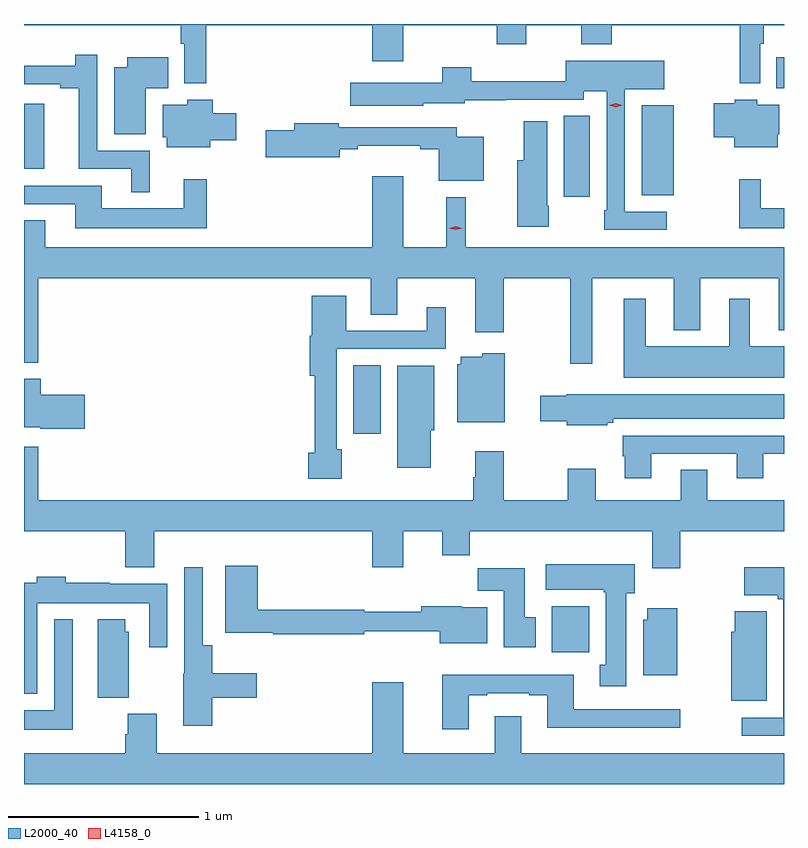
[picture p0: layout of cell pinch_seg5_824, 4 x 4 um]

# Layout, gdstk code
import gdstk
lib = gdstk.Library(unit=1e-6, precision=1e-09)
def R(c, l, rs):  # rectangles x0, y0, x1, y1
    for r in rs: c.add(gdstk.rectangle(r[:2], r[2:], *l))
def P(c, l, *ps):  # polygons
    for p in ps: c.add(gdstk.Polygon(p, *l))
L2000_40 = (2000, 40)
L4158_0 = (4158, 0)

pinch_seg5_824 = lib.new_cell('pinch_seg5_824')
R(pinch_seg5_824, L2000_40, [(765.353,885.428,765.55,885.67), (764.309,886.578,764.452,886.94), (765.416,887.826,765.553,888.251), (765.827,887.833,765.994,888.307), (762.575,887.972,762.682,888.316), (766.534,888.398,766.575,888.559)])
P(pinch_seg5_824, L2000_40, [(763.535,888.728),(764.408,888.728),(764.408,888.54),(764.572,888.54),(764.572,888.728),(765.064,888.728),(765.064,888.629),(765.219,888.629),(765.219,888.728),(765.508,888.728),(765.508,888.629),(765.668,888.629),(765.668,888.728),(766.341,888.728),(766.341,888.422),(766.449,888.422),(766.449,888.632),(766.469,888.632),(766.469,888.728),(766.575,888.728),(766.575,888.735),(762.575,888.735),(762.575,888.728),(763.399,888.728),(763.399,888.632),(763.419,888.632),(763.419,888.422),(763.535,888.422)],
  [(763.237,888.069),(762.96,888.069),(762.96,888.574),(762.844,888.574),(762.844,888.515),(762.575,888.515),(762.575,888.417),(762.767,888.417),(762.767,888.397),(762.863,888.397),(762.863,887.973),(763.139,887.973),(763.139,887.849),(763.237,887.849)],
  [(763.216,888.398),(763.334,888.398),(763.334,888.559),(763.118,888.559),(763.118,888.508),(763.049,888.508),(763.049,888.154),(763.216,888.154)],
  [(765.958,887.748),(765.738,887.748),(765.738,888.392),(765.946,888.392),(765.946,888.541),(765.426,888.541),(765.426,888.434),(764.93,888.434),(764.93,888.508),(764.777,888.508),(764.777,888.427),(764.292,888.427),(764.292,888.305),(764.676,888.305),(764.676,888.318),(764.895,888.318),(764.895,888.335),(765.11,888.335),(765.11,888.336),(765.522,888.336),(765.522,888.38),(765.642,888.38),(765.642,887.755),(765.63,887.755),(765.63,887.652),(765.958,887.652)],
  [(763.555,888.122),(763.693,888.122),(763.693,888.264),(763.568,888.264),(763.568,888.337),(763.434,888.337),(763.434,888.31),(763.304,888.31),(763.304,888.138),(763.325,888.138),(763.325,888.086),(763.555,888.086)],
  [(766.543,888.156),(766.549,888.156),(766.549,888.31),(766.434,888.31),(766.434,888.337),(766.317,888.337),(766.317,888.318),(766.205,888.318),(766.205,888.14),(766.313,888.14),(766.313,888.086),(766.543,888.086)],
  [(765.336,887.779),(765.328,887.779),(765.328,888.223),(765.206,888.223),(765.206,888.019),(765.17,888.019),(765.17,887.667),(765.336,887.667)],
  [(764.995,888.142),(764.853,888.142),(764.853,888.192),(764.232,888.192),(764.232,888.212),(763.997,888.212),(763.997,888.176),(763.848,888.176),(763.848,888.034),(764.236,888.034),(764.236,888.076),(764.332,888.076),(764.332,888.095),(764.66,888.095),(764.66,888.076),(764.757,888.076),(764.757,887.909),(764.995,887.909)],
  [(765.565,887.396),(765.995,887.396),(765.995,887.123),(766.135,887.123),(766.135,887.396),(766.547,887.396),(766.547,887.123),(766.575,887.123),(766.575,887.56),(764.9,887.56),(764.9,887.824),(764.797,887.824),(764.797,887.56),(764.572,887.56),(764.572,887.935),(764.408,887.935),(764.408,887.56),(762.688,887.56),(762.688,887.702),(762.575,887.702),(762.575,886.952),(762.649,886.952),(762.649,887.396),(764.399,887.396),(764.399,887.206),(764.539,887.206),(764.539,887.396),(764.951,887.396),(764.951,887.112),(765.099,887.112),(765.099,887.396),(765.451,887.396),(765.451,886.947),(765.565,886.947)],
  [(766.575,887.764),(766.453,887.764),(766.453,887.917),(766.339,887.917),(766.339,887.66),(766.575,887.66)],
  [(763.537,887.917),(763.415,887.917),(763.415,887.764),(762.985,887.764),(762.985,887.883),(762.575,887.883),(762.575,887.787),(762.845,887.787),(762.845,887.66),(763.537,887.66)],
  [(764.247,886.497),(764.22,886.497),(764.22,887.025),(764.794,887.025),(764.794,887.245),(764.696,887.245),(764.696,887.121),(764.272,887.121),(764.272,887.305),(764.09,887.305),(764.09,887.094),(764.078,887.094),(764.078,886.883),(764.104,886.883),(764.104,886.479),(764.07,886.479),(764.07,886.341),(764.247,886.341)],
  [(766.575,887.038),(766.396,887.038),(766.396,887.29),(766.286,887.29),(766.286,887.038),(765.847,887.038),(765.847,887.29),(765.731,887.29),(765.731,886.874),(766.575,886.874)],
  [(765.106,887.002),(764.988,887.002),(764.988,886.984),(764.873,886.984),(764.873,886.944),(764.855,886.944),(764.855,886.64),(765.106,886.64)],
  [(764.716,886.596),(764.734,886.596),(764.734,886.936),(764.54,886.936),(764.54,886.4),(764.716,886.4)],
  [(762.895,886.784),(762.664,886.784),(762.664,886.867),(762.575,886.867),(762.575,886.613),(762.66,886.613),(762.66,886.606),(762.895,886.606)],
  [(765.645,886.636),(765.675,886.636),(765.675,886.658),(766.575,886.658),(766.575,886.786),(765.432,886.786),(765.432,886.778),(765.291,886.778),(765.291,886.643),(765.432,886.643),(765.432,886.622),(765.645,886.622)],
  [(765.877,886.473),(766.325,886.473),(766.325,886.344),(766.465,886.344),(766.465,886.473),(766.575,886.473),(766.575,886.569),(765.725,886.569),(765.725,886.461),(765.737,886.461),(765.737,886.344),(765.877,886.344)],
  [(766.031,886.388),(766.031,886.228),(765.583,886.228),(765.583,886.393),(765.436,886.393),(765.436,886.228),(765.099,886.228),(765.099,886.486),(764.951,886.486),(764.951,886.349),(764.939,886.349),(764.939,886.228),(762.649,886.228),(762.649,886.51),(762.575,886.51),(762.575,886.064),(763.109,886.064),(763.109,885.875),(763.261,885.875),(763.261,886.064),(764.408,886.064),(764.408,885.876),(764.572,885.876),(764.572,886.064),(764.777,886.064),(764.777,885.94),(764.921,885.94),(764.921,886.064),(765.881,886.064),(765.881,885.87),(766.029,885.87),(766.029,886.064),(766.575,886.064),(766.575,886.228),(766.171,886.228),(766.171,886.388)],
  [(765.745,885.738),(765.79,885.738),(765.79,885.892),(765.321,885.892),(765.321,885.758),(765.625,885.758),(765.625,885.745),(765.638,885.745),(765.638,885.362),(765.605,885.362),(765.605,885.249),(765.745,885.249)],
  [(765.013,885.664),(764.88,885.664),(764.88,885.67),(764.666,885.67),(764.666,885.642),(764.366,885.642),(764.366,885.652),(763.805,885.652),(763.805,885.883),(763.634,885.883),(763.634,885.53),(763.888,885.53),(763.888,885.523),(764.366,885.523),(764.366,885.538),(764.762,885.538),(764.762,885.476),(765.013,885.476)],
  [(766.575,885.877),(766.365,885.877),(766.365,885.728),(766.542,885.728),(766.542,885.707),(766.572,885.707),(766.572,885.084),(766.353,885.084),(766.353,884.988),(766.575,884.988)],
  [(763.565,885.19),(763.801,885.19),(763.801,885.319),(763.565,885.319),(763.565,885.466),(763.515,885.466),(763.515,885.877),(763.419,885.877),(763.419,885.315),(763.412,885.315),(763.412,885.042),(763.565,885.042)],
  [(765.268,885.612),(765.211,885.612),(765.211,885.871),(764.962,885.871),(764.962,885.752),(765.101,885.752),(765.101,885.456),(765.268,885.456)],
  [(762.645,885.686),(763.233,885.686),(763.233,885.456),(763.329,885.456),(763.329,885.79),(763.025,885.79),(763.025,885.793),(762.794,885.793),(762.794,885.826),(762.641,885.826),(762.641,885.793),(762.575,885.793),(762.575,885.209),(762.645,885.209)],
  [(766.012,885.661),(765.854,885.661),(765.854,885.6),(765.833,885.6),(765.833,885.308),(766.012,885.308)],
  [(766.483,885.643),(766.316,885.643),(766.316,885.537),(766.298,885.537),(766.298,885.173),(766.483,885.173)],
  [(763.126,885.537),(763.108,885.537),(763.108,885.601),(762.962,885.601),(762.962,885.19),(763.126,885.19)],
  [(762.832,885.601),(762.735,885.601),(762.735,885.124),(762.575,885.124),(762.575,885.02),(762.832,885.02)],
  [(764.917,885.201),(765.013,885.201),(765.013,885.213),(765.233,885.213),(765.233,885.201),(765.329,885.201),(765.329,885.032),(766.03,885.032),(766.03,885.129),(765.469,885.129),(765.469,885.31),(764.777,885.31),(764.777,885.024),(764.917,885.024)],
  [(766.575,884.896),(765.193,884.896),(765.193,885.091),(765.053,885.091),(765.053,884.896),(764.572,884.896),(764.572,885.271),(764.408,885.271),(764.408,884.896),(763.274,884.896),(763.274,885.105),(763.121,885.105),(763.121,884.996),(763.109,884.996),(763.109,884.896),(762.575,884.896),(762.575,884.735),(766.575,884.735)])
P(pinch_seg5_824, L4158_0, [(765.689,888.298),(765.654,888.308),(765.654,888.308),(765.654,888.308),(765.689,888.318),(765.724,888.308),(765.724,888.308),(765.724,888.308)],
  [(764.847,887.651),(764.814,887.66),(764.814,887.661),(764.814,887.661),(764.847,887.671),(764.88,887.661),(764.881,887.661),(764.88,887.66)])

lib.write_gds('pinch_seg5_824.gds')
